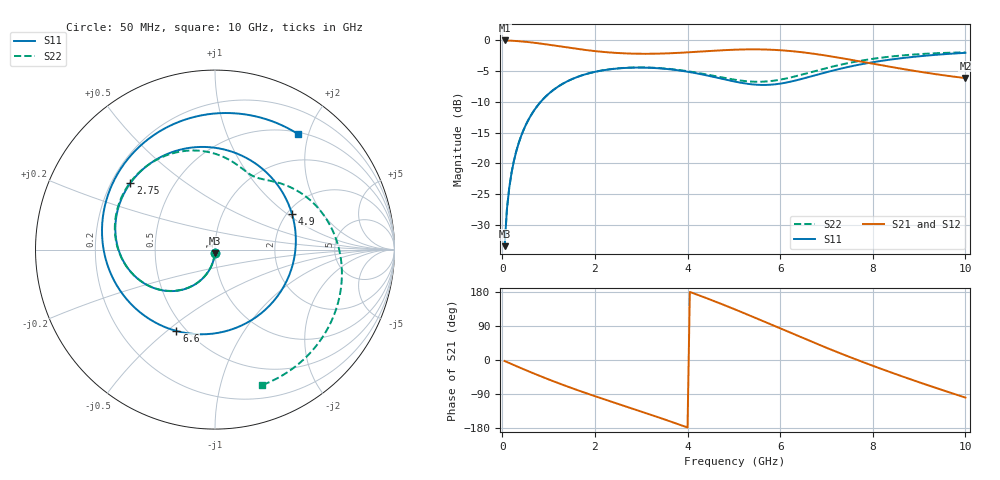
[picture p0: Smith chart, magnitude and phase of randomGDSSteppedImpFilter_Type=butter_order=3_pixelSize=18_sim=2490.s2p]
! freq	dB(S11)	phase(S11)	dB(S12)	phase(S12)
!  dB(S21)	phase(S21)	dB(S22)	phase(S22)
!S-par simulation data
#  GHz  S  DB  R 50
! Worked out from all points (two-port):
!   200 points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, 50 MHz to 10 GHz, reference 50 ohm
!   highest |S21| = -0.01 dB at 50 MHz (marker M1); lowest = -6.1 dB at 10 GHz (marker M2)
!   |S21| within 3 dB of the highest: start of sweep to 7.421 GHz
!   lowest |S11| = -33.5 dB at 50 MHz (marker M3), VSWR 1.04, Z = 49.9 - j2.11 ohm
!   |S11| at or under -10 dB: start of sweep to 828.6 MHz
!   |S22| runs from -33.5 to -1.9 dB; largest |S21 - S12| = 0
!   S11 on the Smith chart (normalised r, x): 50 MHz: 1.00, -0.04; 2.75 GHz: 0.28, +0.32; 4.9 GHz: 2.12, +1.09; 6.6 GHz: 0.45, -0.54; 10 GHz: 0.53, +1.83
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0.05  -33.46 -92.7  -0.01 -2.7  -0.01 -2.7  -33.46 -92.8
0.1  -27.46 -95.6  -0.02 -5.4  -0.02 -5.4  -27.46 -95.6
0.2  -21.51 -101.1  -0.05 -10.7  -0.05 -10.7  -21.51 -101.2
0.5  -13.87 -116.9  -0.22 -26.4  -0.22 -26.4  -13.87 -117.1
1.1  -8.07 -146.4  -0.81 -56.0  -0.81 -56.0  -8.07 -146.7
1.75  -5.61 -175.7  -1.51 -85.0  -1.51 -85.0  -5.60 -175.4
2.25  -4.77 163.0  -1.92 -105.7  -1.92 -105.7  -4.76 164.3
2.75  -4.44 141.8  -2.14 -125.9  -2.14 -125.9  -4.42 145.2
3.4  -4.54 112.7  -2.14 -152.5  -2.14 -152.5  -4.50 121.5
4.15  -5.29 73.9  -1.88 175.1  -1.88 175.1  -5.18 96.1
4.9  -6.50 25.0  -1.55 139.7  -1.55 139.7  -6.24 75.2
5.05  -6.74 13.6  -1.50 132.3  -1.50 132.3  -6.43 71.8
5.4  -7.15 -14.9  -1.45 114.5  -1.45 114.5  -6.70 65.1
5.8  -7.20 -49.6  -1.51 93.8  -1.51 93.8  -6.61 58.1
6.2  -6.75 -83.8  -1.71 73.0  -1.71 73.0  -6.07 50.1
6.6  -5.99 -115.3  -2.04 52.4  -2.04 52.4  -5.30 40.0
6.7  -5.78 -122.7  -2.14 47.3  -2.14 47.3  -5.09 37.2
7.1  -4.98 -150.4  -2.60 27.3  -2.60 27.3  -4.31 24.7
7.55  -4.18 -178.5  -3.18 5.6  -3.18 5.6  -3.57 9.5
8.35  -3.15 136.7  -4.26 -30.8  -4.26 -30.8  -2.66 -18.3
9.2  -2.44 93.2  -5.31 -67.0  -5.31 -67.0  -2.14 -46.3
10  -2.02 54.4  -6.13 -99.2  -6.13 -99.2  -1.94 -70.8
